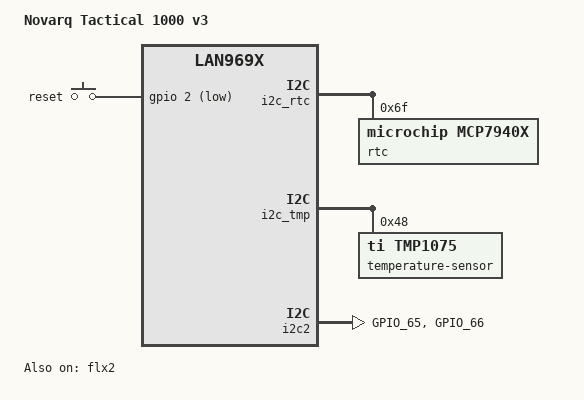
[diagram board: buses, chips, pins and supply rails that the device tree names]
// SPDX-License-Identifier: GPL-2.0-or-later OR MIT

/dts-v1/;

#include <dt-bindings/input/input.h>
#include "lan969x-tactical-1000-v2.dtsi"

/ {
	model = "Novarq Tactical 1000 v3";
	compatible = "novarq,tactical-1000-v3", "microchip,lan969x";

	keys {
		compatible = "gpio-keys";
		pinctrl-0 = <&button_pins>;
		pinctrl-names = "default";

		reset {
			label = "reset";
			gpios = <&gpio 2 GPIO_ACTIVE_LOW>;
			linux,code = <KEY_RESTART>;
		};
	};
};

&i2c_mux {
	i2c_rtc: i2c@4 {
		reg = <0x4>;
		#address-cells = <1>;
		#size-cells = <0>;

		rtc@6f {
			compatible = "microchip,mcp7940x";
			reg = <0x6f>;
		};
	};

	i2c_tmp: i2c@6 {
		reg = <0x6>;
		#address-cells = <1>;
		#size-cells = <0>;

		temperature-sensor@48 {
			compatible = "ti,tmp1075";
			reg = <0x48>;
		};
	};
};

&gpio {
	button_pins: button-pins {
		pins = "GPIO_2";
		function = "gpio";
	};

	case_fan_pins: case-fan-pins {
		pins = "GPIO_59";
		function = "gpio";
	};

	fc2_pins: fc2-pins {
		pins = "GPIO_65", "GPIO_66";
		function = "fc";
	};
};

&case_gpio_fan {
	gpios = <&gpio 59 GPIO_ACTIVE_HIGH>;
};

&flx2 {
	atmel,flexcom-mode = <ATMEL_FLEXCOM_MODE_TWI>;
	status = "okay";
};

&i2c2 {
	pinctrl-0 = <&fc2_pins>;
	pinctrl-names = "default";
	i2c-analog-filter;
	i2c-digital-filter;
	i2c-digital-filter-width-ns = <35>;
	i2c-sda-hold-time-ns = <1500>;
	status = "okay";

	/* ATECC608C lives here on 0x60 */
};
